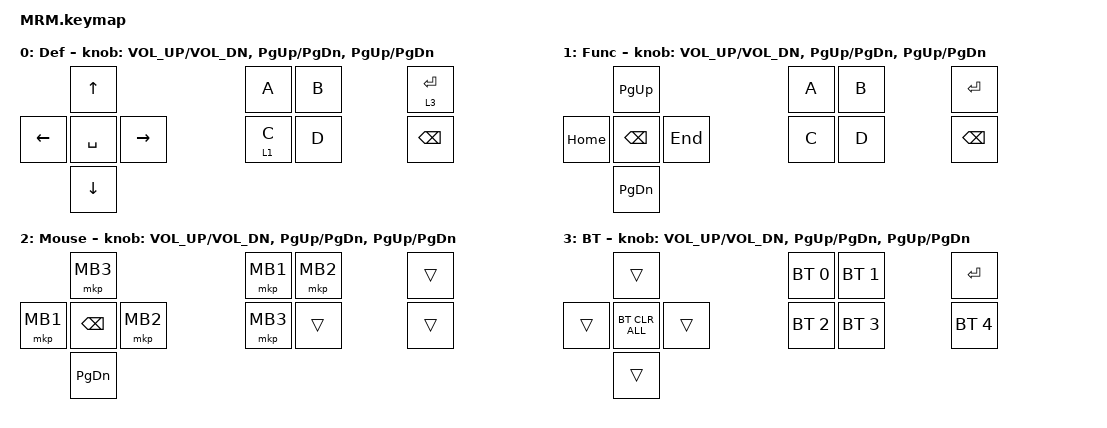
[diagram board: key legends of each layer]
#include <behaviors.dtsi>
#include <dt-bindings/zmk/bt.h>
#include <dt-bindings/zmk/keys.h>
#include <dt-bindings/zmk/pointing.h>

#define DEF 0
#define FUNC 1
#define MOUSE 2
#define BT 3

/ {
    keymap {
        compatible = "zmk,keymap";

        default_layer {
            label = "Def";
            bindings = <
          &kp UP                &kp A    &kp B  &lt 3 ENTER
&kp LEFT  &kp SPACE  &kp RIGHT  &lt 1 C  &kp D  &kp BKSP
          &kp DOWN
            >;

            sensor-bindings = <&inc_dec_kp C_VOL_UP C_VOL_DN &inc_dec_kp PG_UP PG_DN &inc_dec_kp PG_UP PG_DN>;
        };

        func_layer {
            label = "Func";
            bindings = <
          &kp PG_UP           &kp A  &kp B  &kp ENTER
&kp HOME  &kp BKSP   &kp END  &kp C  &kp D  &kp BKSP
          &kp PG_DN
            >;

            sensor-bindings = <&inc_dec_kp C_VOL_UP C_VOL_DN &inc_dec_kp PG_UP PG_DN &inc_dec_kp PG_UP PG_DN>;
        };

        mouse_layer {
            label = "Mouse";
            bindings = <
          &mkp MB3             &mkp MB1  &mkp MB2  &trans
&mkp MB1  &kp BKSP   &mkp MB2  &mkp MB3  &trans    &trans
          &kp PG_DN
            >;

            sensor-bindings = <&inc_dec_kp C_VOL_UP C_VOL_DN &inc_dec_kp PG_UP PG_DN &inc_dec_kp PG_UP PG_DN>;
        };

        bt_layer {
            label = "BT";
            bindings = <
        &trans                  &bt BT_SEL 0  &bt BT_SEL 1  &kp ENTER
&trans  &bt BT_CLR_ALL  &trans  &bt BT_SEL 2  &bt BT_SEL 3  &bt BT_SEL 4
        &trans
            >;

            sensor-bindings = <&inc_dec_kp C_VOL_UP C_VOL_DN &inc_dec_kp PG_UP PG_DN &inc_dec_kp PG_UP PG_DN>;
        };
    };
};
